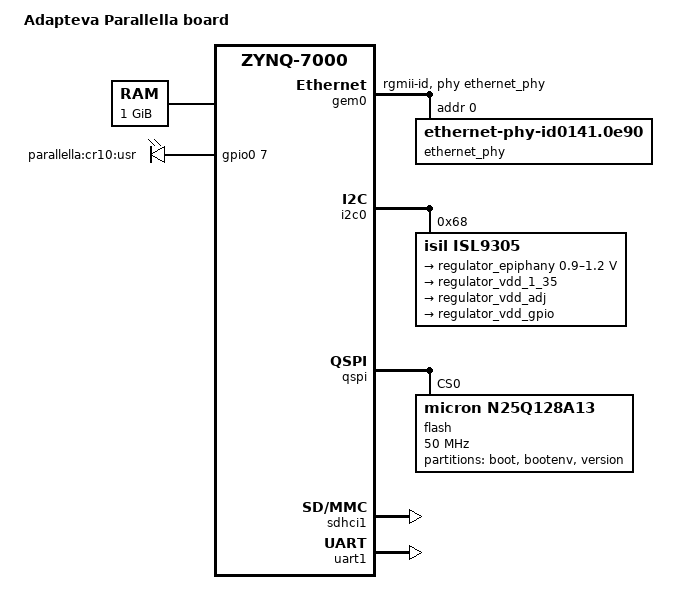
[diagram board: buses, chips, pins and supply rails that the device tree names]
// SPDX-License-Identifier: GPL-2.0
/*
 * Copyright (c) 2014 SUSE LINUX Products GmbH
 *
 * Derived from zynq-zed.dts:
 *
 *  Copyright (C) 2011 Xilinx
 *  Copyright (C) 2012 National Instruments Corp.
 *  Copyright (C) 2013 Xilinx
 */
/dts-v1/;
#include "zynq-7000.dtsi"
#include <dt-bindings/gpio/gpio.h>

/ {
	model = "Adapteva Parallella board";
	compatible = "adapteva,parallella", "xlnx,zynq-7000";

	aliases {
		ethernet0 = &gem0;
		serial0 = &uart1;
		spi0 = &qspi;
	};

	memory@0 {
		device_type = "memory";
		reg = <0x0 0x40000000>;
	};

	chosen {
		bootargs = "root=/dev/mmcblk0p2 rootfstype=ext4 rw rootwait";
		stdout-path = "serial0:115200n8";
	};

	leds {
		compatible = "gpio-leds";

		cr10 {
			label = "parallella:cr10:usr";
			gpios = <&gpio0 7 GPIO_ACTIVE_HIGH>;
			default-state = "on";
		};
	};
};

&clkc {
	fclk-enable = <0xf>;
	ps-clk-frequency = <33333333>;
};

&gem0 {
	status = "okay";
	phy-mode = "rgmii-id";
	phy-handle = <&ethernet_phy>;

	ethernet_phy: ethernet-phy@0 {
		/* Marvell 88E1318 */
		compatible = "ethernet-phy-id0141.0e90",
		             "ethernet-phy-ieee802.3-c22";
		reg = <0>;
		device_type = "ethernet-phy";
		marvell,reg-init = <0x3 0x10 0xff00 0x1e>,
		                   <0x3 0x11 0xfff0 0xa>;
	};
};

&i2c0 {
	status = "okay";

	isl9305: isl9305@68 {
		compatible = "isil,isl9305", "isl,isl9305";
		reg = <0x68>;

		regulators {
			regulator_epiphany: dcd1 {
				regulator-name = "VDD_DSP";
				regulator-min-microvolt =  <900000>;
				regulator-max-microvolt = <1200000>;
			};
			regulator_vdd_1_35: dcd2 {
				regulator-name = "1P35V";
				regulator-always-on;
			};
			regulator_vdd_adj: ldo1 {
				regulator-name = "VDD_ADJ";
				regulator-always-on;
			};
			regulator_vdd_gpio: ldo2 {
				regulator-name = "VDD_GPIO";
				regulator-always-on;
			};
		};
	};
};

&qspi {
	u-boot,dm-pre-reloc;
	status = "okay";

	flash@0 {
		compatible = "micron,n25q128a13";
		reg = <0x0>;
		spi-max-frequency = <50000000>;
		#address-cells = <1>;
		#size-cells = <1>;
		m25p,fast-read;
		partition@0 {
			label = "boot";
			reg = <0x00000000 0x004e0000>;
		};
		partition@4e0000 {
			label = "bootenv";
			reg = <0x004e0000 0x00020000>;
		};
		partition@ff0000 {
			label = "version";
			reg = <0x00ff0000 0x00010000>;
			/* Offset	Name	Description
			 * 0x0:		Version	32-bit LSB running number @0x0
			 * 0x4		Magic	"0x13371338"
			 */
		};
	};
};

&sdhci1 {
	u-boot,dm-pre-reloc;
	status = "okay";
};

&uart1 {
	u-boot,dm-pre-reloc;
	status = "okay";
};
